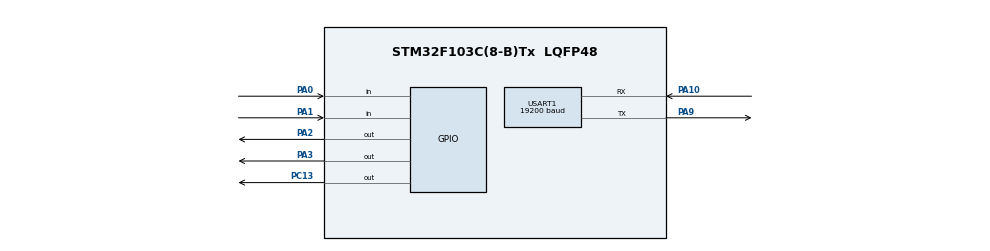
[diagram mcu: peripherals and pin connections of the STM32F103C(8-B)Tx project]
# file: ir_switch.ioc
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Mcu.Family=STM32F1
Mcu.Name=STM32F103C(8-B)Tx
Mcu.Package=LQFP48
NVIC.PriorityGroup=NVIC_PRIORITYGROUP_4
NVIC.USART1_IRQn=true\:0\:0\:false\:false\:true\:true\:true
PA0-WKUP.GPIO_PuPd=GPIO_PULLUP
PA0-WKUP.Signal=GPIO_Input
PA1.GPIO_PuPd=GPIO_PULLUP
PA1.Signal=GPIO_Input
PA10.GPIO_PuPd=GPIO_PULLUP
PA10.Mode=Asynchronous
PA10.Signal=USART1_RX
PA13.Mode=Serial_Wire
PA13.Signal=SYS_JTMS-SWDIO
PA14.Mode=Serial_Wire
PA14.Signal=SYS_JTCK-SWCLK
PA2.Signal=GPIO_Output
PA3.Signal=GPIO_Output
PA9.Mode=Asynchronous
PA9.Signal=USART1_TX
PC13-TAMPER-RTC.Signal=GPIO_Output
ProjectManager.HeapSize=0x200
ProjectManager.StackSize=0x400
ProjectManager.TargetToolchain=STM32CubeIDE
RCC.APB1Freq_Value=8000000
RCC.APB2Freq_Value=8000000
USART1.BaudRate=19200
USART1.Mode=MODE_TX_RX
USART1.StopBits=STOPBITS_2
USART1.VirtualMode=VM_ASYNC
board=custom

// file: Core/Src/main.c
/* USER CODE BEGIN Header */
/**
 * BC7215 Example Application :
 *  IR remote control power switch
 *
 * Target platform: STM32F103C8
 *
 * Description:
 *   This application demostrates how to us BC7215 and its library to
 *   implement an IR remote controlled switch that can 'pair' with any
 *   remote controller. The system has 2 buttons and 1 LED, and 2 relays
 *   driven by the micro.
 *   User and pair the system with any key (usually a spare key) on any
 *   remote controller and then use that key to controll the switch.
 *
 * Author: Bitcode
 * Date: 2024-03
 *
 * Version: 1.0
 *
 * Notes:
 *   The bc7215_lib_config.h file is changed according to the requirments
 *   of this application.
 *
 */
/* USER CODE END Header */
#include "main.h"

/* USER CODE BEGIN Includes */
#include "bc7215_lib.h"
/* USER CODE END Includes */

/* USER CODE BEGIN PD */
#define LED_PIN_PORT GPIOC
#define LED_PIN_NUM  GPIO_PIN_13
#define S1_PIN_PORT  GPIOA
#define S1_PIN_NUM   GPIO_PIN_0
#define S2_PIN_PORT  GPIOA
#define S2_PIN_NUM   GPIO_PIN_1
#define SW1_PIN_PORT GPIOA
#define SW1_PIN_NUM  GPIO_PIN_3
#define SW2_PIN_PORT GPIOA
#define SW2_PIN_NUM  GPIO_PIN_2
/* USER CODE END PD */

UART_HandleTypeDef huart1;

/* USER CODE BEGIN PV */
uint8_t             IRRam[50];        // this is memory pool for IR data packets
bc7215DataVarPkt_t* IRData[2];        // 2 pointers for saved IR data for each controlled switch
bc7215DataVarPkt_t* RcvdData;         // This is the received IR data

uint8_t  Sig;
uint8_t  RxByte;
uint8_t  WorkingMode;
uint8_t  KeyValue;
uint8_t  Counter;
uint32_t DownCounter;
uint16_t Len;

/* USER CODE END PV */

void        SystemClock_Config(void);
static void MX_GPIO_Init(void);
static void MX_USART1_UART_Init(void);
/* USER CODE BEGIN PFP */
// functions needed by BC7215 library
// In this application, BC7215 is hardwared to receiving mode,
// so only these 3 functions are needed.
uint8_t read_MOD(void);            // function to read MOD pin
void    UART_INT_en(void);         // function to enable UART RX interrupt
void    UART_INT_dis(void);        // function to disable UART RX interrupt

void    NVIC_Config(void);        // Config NVIC
uint8_t Read_Keypad(void);
void    Led_On(void);
void    Led_Off(void);
void    Toggle_Sw1(void);
void    Toggle_Sw2(void);
/* USER CODE END PFP */

int main(void)
{

    /* MCU Configuration--------------------------------------------------------*/

    /* Reset of all peripherals, Initializes the Flash interface and the Systick. */
    HAL_Init();

    /* Configure the system clock */
    SystemClock_Config();

    /* Initialize all configured peripherals */
    MX_GPIO_Init();
    MX_USART1_UART_Init();
    /* USER CODE BEGIN 2 */
    // bc7215 related init
    bc7215_config_uart_int_en_funct(UART_INT_en);
    bc7215_config_uart_int_dis_funct(UART_INT_dis);
    bc7215_config_read_mod_funct(read_MOD);
    Led_Off();

    NVIC_Config();
    HAL_UART_Receive_IT(&huart1, &RxByte, 1);

    IRData[0] = (bc7215DataVarPkt_t*)&IRRam[0];        // store IRData[0] at the beginning of IRRam;
    IRData[1] = IRData[0] + 1;                         // set IRData[1] to the address follow IRData[0]
    RcvdData = IRData[1] + 1;

    /* USER CODE END 2 */

    /* Infinite loop */
    /* USER CODE BEGIN WHILE */
    while (1)
    {
        KeyValue = Read_Keypad();        // read if there is key press
        switch (WorkingMode)
        {
        case 0:                               // WorkingMode 0 is normal mode
            if ((Counter & 0x1f) == 0)        // flash LED every 3200ms to show it's in working mode
            {
                Led_On();
            }
            else
            {
                Led_Off();
            }

            switch (KeyValue)
            {
            case 0x01:                  // button 1 pressed
                Led_On();               // turn on LED to indicate it's in setting mode
                WorkingMode = 1;        // Mode1 is to set Sw1
                break;
            case 0x02:                  // button 2 pressed
                Led_On();               // turn on LED to indicate it's in setting mode
                WorkingMode = 2;        // Mode2 is to set Sw2
                break;
            default:
                break;
            }

            if (bc7215_data_ready())        // if remote data is received
            {
                Len = bc7215_dpkt_size();
                if (bc7215_cal_size(IRData[0]) + bc7215_cal_size(IRData[1]) + Len
                    < sizeof(IRRam))        // if data will not overflow the IR RAM
                {
                    Sig = bc7215_get_data(RcvdData);        // read data and clear status
                    // some PPM remotes such as RC5 and RC6 have a toggle bit in data, which will toggle each time
                    // the button is pressed. To make comparasion easier, we mask these bits if the signal is PPM
                    if ((Sig & 0x30)
                        != 0x30)        // if TP1:TP0 != 11 (PPM signal), mask possible toggle bits in RC5 and RC6
                    {
                        RcvdData->data[0] |= 0x28;        // mask bit5(RC5) and bit3(RC6)
                    }
                    if ((RcvdData->bitLen == IRData[0]->bitLen) && (bc7215_compare_dpkt(Sig, RcvdData, IRData[0]) == 1))
                    // if received IR is same as 1st stored data packet
                    {
                        Toggle_Sw1();

                        // some remote such as RC5 repeat sending while the button is pressed,
                        // we only leave when there is no IR data received in 0.2s
                        // to prevent the switch being toggled by repeating signals.
                        do
                        {
                            bc7215_clr_data();        // clear any received data packet
                            HAL_Delay(200);
                        } while (bc7215_data_ready());
                    }
                    else if ((RcvdData->bitLen == IRData[1]->bitLen)
                        && (bc7215_compare_dpkt(Sig, RcvdData, IRData[1]) == 1))
                    // if received IR is same as 2nd stored data packet
                    {
                        Toggle_Sw2();

                        // some remote such as RC5 repeat sending while the button is pressed,
                        // we only leave when there is no IR data received in 0.2s
                        // to prevent the switch being toggled by repeating signals.
                        do
                        {
                            bc7215_clr_data();        // clear any received data packet
                            HAL_Delay(200);
                        } while (bc7215_data_ready());
                    }
                }
                else
                {
                    bc7215_clr_data();
                }
            }

            break;
        case 1:        // WorkingMode 1 is Sw1 setting mode
            if (bc7215_data_ready())
            {
                Len = bc7215_dpkt_size();
                if (Len + bc7215_cal_size(IRData[1]) < sizeof(IRRam))
                {
                    bc7215_copy_dpkt((bc7215DataVarPkt_t*)&IRRam[Len],
                        IRData[1]);        // move IRData[1] to get space for IRData[0]
                    IRData[1] = (bc7215DataVarPkt_t*)&IRRam[Len];
                    Sig = bc7215_get_data(IRData[0]);
                    // save data in IRData[0], in real product the data should be saved in EEPROM

                    // some PPM remotes such as RC5 and RC6 have a toggle bit in data, which will toggle each time
                    // the button is pressed. To make comparasion easier, we mask these bits if the signal is PPM
                    if ((Sig & 0x30)
                        != 0x30)        // if TP1:TP0 != 11 (PPM signal), mask possible toggle bits in RC5 and RC6
                    {
                        IRData[0]->data[0] |= 0x28;        // mask bit5(RC5) and bit3(RC6)
                    }

                    Led_Off();

                    // some remote such as RC5 repeat sending while the button is pressed,
                    // we only leave when there is no IR data received in 0.2s
                    // to prevent the switch being toggled by repeating signals.
                    do
                    {
                        bc7215_clr_data();        // clear data
                        HAL_Delay(200);
                    } while (bc7215_data_ready());        // if there is no new data in 200ms
                    RcvdData = (bc7215DataVarPkt_t*)((uint8_t*)IRData[1] + bc7215_cal_size(IRData[1]));
                    WorkingMode = 0;        // switch back to normal mode
                }
                else
                {
                    bc7215_clr_data();        // if data will overflow, discard received data
                }
            }
            break;
        case 2:        // WorkingMode 2 is Sw2 setting mode
            if (bc7215_data_ready())
            {
                Len = bc7215_dpkt_size();
                if (bc7215_cal_size(IRData[0]) + Len < sizeof(IRRam))        // if data will not overflow the IR RAM
                {
                    Sig = bc7215_get_data(IRData[1]);
                    // save data in IRData[1], in real product the data should be saved in EEPROM

                    // some PPM remotes such as RC5 and RC6 have a toggle bit in data, which will toggle each time
                    // the button is pressed. To make comparasion easier, we mask these bits if the signal is PPM
                    if ((Sig & 0x30)
                        != 0x30)        // if TP1:TP0 != 11 (PPM signal), mask possible toggle bits in RC5 and RC6
                    {
                        IRData[1]->data[0] |= 0x28;        // mask bit5(RC5) and bit3(RC6) of first data byte
                    }

                    Led_Off();

                    // some remote such as RC5 repeat sending while the button is pressed,
                    // we only leave when there is no IR data received in 0.2s
                    // to prevent the switch being toggled by repeating signals.
                    do
                    {
                        bc7215_clr_data();        // clear data
                        HAL_Delay(200);
                    } while (bc7215_data_ready());        // if there is no new data in 200ms
                    RcvdData = (bc7215DataVarPkt_t*)((uint8_t*)IRData[1] + Len);
                    WorkingMode = 0;        // switch back to normal mode
                }
                else
                {
                    bc7215_clr_data();        // if data will overflow, discard received data
                }
            }
            break;
        default:
            break;
        }
        Counter++;
        HAL_Delay(100);
    }
    /* USER CODE END WHILE */

}

void SystemClock_Config(void)
{
    RCC_OscInitTypeDef RCC_OscInitStruct = { 0 };
    RCC_ClkInitTypeDef RCC_ClkInitStruct = { 0 };

    /** Initializes the RCC Oscillators according to the specified parameters
     * in the RCC_OscInitTypeDef structure.
     */
    RCC_OscInitStruct.OscillatorType = RCC_OSCILLATORTYPE_HSI;
    RCC_OscInitStruct.HSIState = RCC_HSI_ON;
    RCC_OscInitStruct.HSICalibrationValue = RCC_HSICALIBRATION_DEFAULT;
    RCC_OscInitStruct.PLL.PLLState = RCC_PLL_NONE;
    if (HAL_RCC_OscConfig(&RCC_OscInitStruct) != HAL_OK)
    {
        Error_Handler();
    }
    /** Initializes the CPU, AHB and APB buses clocks
     */
    RCC_ClkInitStruct.ClockType = RCC_CLOCKTYPE_HCLK | RCC_CLOCKTYPE_SYSCLK | RCC_CLOCKTYPE_PCLK1 | RCC_CLOCKTYPE_PCLK2;
    RCC_ClkInitStruct.SYSCLKSource = RCC_SYSCLKSOURCE_HSI;
    RCC_ClkInitStruct.AHBCLKDivider = RCC_SYSCLK_DIV1;
    RCC_ClkInitStruct.APB1CLKDivider = RCC_HCLK_DIV1;
    RCC_ClkInitStruct.APB2CLKDivider = RCC_HCLK_DIV1;

    if (HAL_RCC_ClockConfig(&RCC_ClkInitStruct, FLASH_LATENCY_0) != HAL_OK)
    {
        Error_Handler();
    }
}

static void MX_USART1_UART_Init(void)
{

    huart1.Instance = USART1;
    huart1.Init.BaudRate = 19200;
    huart1.Init.WordLength = UART_WORDLENGTH_8B;
    huart1.Init.StopBits = UART_STOPBITS_2;
    huart1.Init.Parity = UART_PARITY_NONE;
    huart1.Init.Mode = UART_MODE_TX_RX;
    huart1.Init.HwFlowCtl = UART_HWCONTROL_NONE;
    huart1.Init.OverSampling = UART_OVERSAMPLING_16;
    if (HAL_UART_Init(&huart1) != HAL_OK)
    {
        Error_Handler();
    }
}

static void MX_GPIO_Init(void)
{
    GPIO_InitTypeDef GPIO_InitStruct = { 0 };

    /* GPIO Ports Clock Enable */
    __HAL_RCC_GPIOC_CLK_ENABLE();
    __HAL_RCC_GPIOA_CLK_ENABLE();

    /*Configure GPIO pin Output Level */
    HAL_GPIO_WritePin(GPIOC, GPIO_PIN_13, GPIO_PIN_RESET);

    /*Configure GPIO pin Output Level */
    HAL_GPIO_WritePin(GPIOA, GPIO_PIN_2 | GPIO_PIN_3, GPIO_PIN_RESET);

    /*Configure GPIO pin : PC13 */
    GPIO_InitStruct.Pin = GPIO_PIN_13;
    GPIO_InitStruct.Mode = GPIO_MODE_OUTPUT_PP;
    GPIO_InitStruct.Pull = GPIO_NOPULL;
    GPIO_InitStruct.Speed = GPIO_SPEED_FREQ_LOW;
    HAL_GPIO_Init(GPIOC, &GPIO_InitStruct);

    /*Configure GPIO pins : PA0 PA1 */
    GPIO_InitStruct.Pin = GPIO_PIN_0 | GPIO_PIN_1;
    GPIO_InitStruct.Mode = GPIO_MODE_INPUT;
    GPIO_InitStruct.Pull = GPIO_PULLUP;
    HAL_GPIO_Init(GPIOA, &GPIO_InitStruct);

    /*Configure GPIO pins : PA2 PA3 */
    GPIO_InitStruct.Pin = GPIO_PIN_2 | GPIO_PIN_3;
    GPIO_InitStruct.Mode = GPIO_MODE_OUTPUT_PP;
    GPIO_InitStruct.Pull = GPIO_NOPULL;
    GPIO_InitStruct.Speed = GPIO_SPEED_FREQ_LOW;
    HAL_GPIO_Init(GPIOA, &GPIO_InitStruct);
}

/* USER CODE BEGIN 4 */
uint8_t read_MOD(void)        // function to read MOD pin
{
    return 1;
}

void UART_INT_en(void)        // function to enable UART RX interrupt
{
    HAL_NVIC_EnableIRQ(USART1_IRQn);
}

void UART_INT_dis(void)        // function to disable UART RX interrupt
{
    HAL_NVIC_DisableIRQ(USART1_IRQn);
}

void NVIC_Config(void)        // Config NVIC
{
    HAL_NVIC_SetPriority(USART1_IRQn, 0, 1);        // Set priority
    HAL_NVIC_EnableIRQ(USART1_IRQn);                // Enable interrupt
}

uint8_t Read_Keypad(void)
{
    uint8_t ButtonMap;
    ButtonMap = GPIOA->IDR & 0x03;
    if (ButtonMap == 0x03)        // if no button is pressed
    {
        return 0;
    }
    else
    {
        while ((GPIOA->IDR & 0x0003) != 0x0003)        // if buttons are not released
        {
            if ((GPIOA->IDR & 0x0003) == 0x0000)
            {
                ButtonMap = 0x00;
            }
        }
        return ButtonMap ^ 0x03;
    }
}

void Led_On(void)
{
    HAL_GPIO_WritePin(LED_PIN_PORT, LED_PIN_NUM, GPIO_PIN_RESET);        // LED on
}

void Led_Off(void)
{
    HAL_GPIO_WritePin(LED_PIN_PORT, LED_PIN_NUM, GPIO_PIN_SET);        // LED off
}

void Toggle_Sw1(void)
{
    if (HAL_GPIO_ReadPin(SW1_PIN_PORT, SW1_PIN_NUM))        // if output is high
    {
        HAL_GPIO_WritePin(SW1_PIN_PORT, SW1_PIN_NUM, GPIO_PIN_RESET);        // SET output LOW
    }
    else
    {
        HAL_GPIO_WritePin(SW1_PIN_PORT, SW1_PIN_NUM, GPIO_PIN_SET);        // SET output PIN HIGH
    }
}

void Toggle_Sw2(void)
{
    if (HAL_GPIO_ReadPin(SW2_PIN_PORT, SW2_PIN_NUM))        // if output is high
    {
        HAL_GPIO_WritePin(SW2_PIN_PORT, SW2_PIN_NUM, GPIO_PIN_RESET);        // SET output LOW
    }
    else
    {
        HAL_GPIO_WritePin(SW2_PIN_PORT, SW2_PIN_NUM, GPIO_PIN_SET);        // SET output PIN HIGH
    }
}

void HAL_UART_RxCpltCallback(UART_HandleTypeDef* huart)        // RXNE interrupt callback
{
    if (huart->Instance == USART1)
    {
        bc7215_process_uart_data(RxByte);
        HAL_UART_Receive_IT(huart, &RxByte, 1);
    }
}

/* USER CODE END 4 */

void Error_Handler(void)
{
    __disable_irq();
    while (1) { }
}
